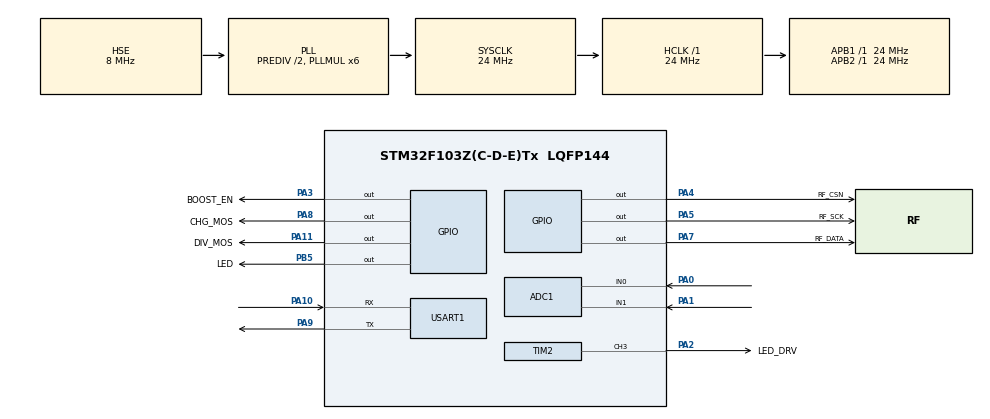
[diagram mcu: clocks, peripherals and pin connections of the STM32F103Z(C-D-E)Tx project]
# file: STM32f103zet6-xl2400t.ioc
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ADC1.Channel-0\#ChannelRegularConversion=ADC_CHANNEL_0
ADC1.NbrOfConversionFlag=1
ADC1.Rank-0\#ChannelRegularConversion=1
ADC1.SamplingTime-0\#ChannelRegularConversion=ADC_SAMPLETIME_1CYCLE_5
ADC1.master=1
IWDG.Prescaler=IWDG_PRESCALER_64
IWDG.Reload=1000
Mcu.Family=STM32F1
Mcu.Name=STM32F103Z(C-D-E)Tx
Mcu.Package=LQFP144
NVIC.PriorityGroup=NVIC_PRIORITYGROUP_4
OSC_IN.Mode=HSE-External-Oscillator
OSC_IN.Signal=RCC_OSC_IN
OSC_OUT.Mode=HSE-External-Oscillator
OSC_OUT.Signal=RCC_OSC_OUT
PA0-WKUP.Signal=ADCx_IN0
PA1.Signal=ADCx_IN1
PA10.Mode=Asynchronous
PA10.Signal=USART1_RX
PA11.GPIO_Label=DIV_MOS
PA11.Signal=GPIO_Output
PA13.Mode=Serial_Wire
PA13.Signal=SYS_JTMS-SWDIO
PA14.Mode=Serial_Wire
PA14.Signal=SYS_JTCK-SWCLK
PA2.GPIO_Label=LED_DRV
PA2.Signal=S_TIM2_CH3
PA3.GPIO_Label=BOOST_EN
PA3.Signal=GPIO_Output
PA4.GPIO_Label=RF_CSN
PA4.Signal=GPIO_Output
PA5.GPIO_Label=RF_SCK
PA5.Signal=GPIO_Output
PA7.GPIO_Label=RF_DATA
PA7.Signal=GPIO_Output
PA8.GPIO_Label=CHG_MOS
PA8.Signal=GPIO_Output
PA9.Mode=Asynchronous
PA9.Signal=USART1_TX
PB5.GPIO_Label=LED
PB5.Signal=GPIO_Output
ProjectManager.HeapSize=0x200
ProjectManager.StackSize=0x400
ProjectManager.TargetToolchain=MDK-ARM V5
RCC.AHBFreq_Value=24000000
RCC.APB1Freq_Value=24000000
RCC.APB1TimFreq_Value=24000000
RCC.APB2Freq_Value=24000000
RCC.APB2TimFreq_Value=24000000
RCC.HCLKFreq_Value=24000000
RCC.HSEDivPLL=RCC_HSE_PREDIV_DIV2
RCC.PLLMUL=RCC_PLL_MUL6
RCC.PLLSourceVirtual=RCC_PLLSOURCE_HSE
RCC.SYSCLKFreq_VALUE=24000000
RCC.SYSCLKSource=RCC_SYSCLKSOURCE_PLLCLK
RCC.USBFreq_Value=24000000
SH.ADCx_IN0.0=ADC1_IN0,IN0
SH.ADCx_IN1.0=ADC1_IN1,IN1
SH.S_TIM2_CH3.0=TIM2_CH3,PWM Generation3 CH3
TIM2.AutoReloadPreload=TIM_AUTORELOAD_PRELOAD_ENABLE
TIM2.Channel-PWM\ Generation3\ CH3=TIM_CHANNEL_3
TIM2.OCFastMode_PWM-PWM\ Generation3\ CH3=TIM_OCFAST_ENABLE
TIM2.Period=192
TIM2.Pulse-PWM\ Generation3\ CH3=115
USART1.VirtualMode=VM_ASYNC
VP_IWDG_VS_IWDG.Mode=IWDG_Activate
board=custom

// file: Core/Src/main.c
/* USER CODE BEGIN Header */
/**
  ******************************************************************************
  * @file           : main.c
  * @brief          : Main program body
  ******************************************************************************
  * @attention
  *
  * Copyright (c) 2026 STMicroelectronics.
  * All rights reserved.
  *
  * This software is licensed under terms that can be found in the LICENSE file
  * in the root directory of this software component.
  * If no LICENSE file comes with this software, it is provided AS-IS.
  *
  ******************************************************************************
  */
/* USER CODE END Header */
#include "main.h"

/* USER CODE BEGIN Includes */
#include "XL2400T.h"
#include "rf_xl2400.h"
/* USER CODE END Includes */

/* USER CODE BEGIN PD */
/* v1.8.1: 测试版 - 取消传输延迟补偿，观察原始同步效果 */
#define SYNC_CYCLE_MS       900U    /* 同步周期 900ms */
#define SYNC_LED_ON_MS      100U    /* LED 亮灯时间 100ms */
#define SYNC_TX_TIME_MS     450U    /* TX 发送时间：周期中点，所有节点相同 */
#define SYNC_TX_DELAY_MS    6U      /* 传输延迟补偿：基于测试结果(11ms/2≈6ms) */
#define SYNC_PKT_SIZE       4U      /* 精简包：AA 55 + 2字节相位 */

/* 日/夜检测 (规格书 §5)：太阳能板电压 PA0/ADC1_IN0，滞回避免抖动 */
#define SOLAR_ADC_NIGHT_THRESHOLD   360U   /* raw < 此值判为夜间，开灯 (0.29V @ 3.3Vref) */
#define SOLAR_ADC_DAY_THRESHOLD    496U   /* raw > 此值判为白天，关灯 (0.4V @ 3.3Vref) */
#define DAYNIGHT_SAMPLE_INTERVAL_MS 1000U /* 日/夜 ADC 采样间隔（1s），配合 3s 持续确认 */
#define DAYNIGHT_HOLD_MS            3000U /* 翻转前需持续满足条件的时间，避免误触发 */

/* 充电控制（过充保护）：电池电压 PA1/ADC1_IN1，1K+104 RC 滤波直采，无分压 (镍氢约 1.2V，最高约 1.6V) */
#define BATT_ADC_OVERCHARGE_RAW     1924U  /* raw >= 此值关断充电 (1.55V @ 3.3Vref) */
#define BATT_ADC_REENABLE_RAW      1676U  /* raw <= 此值重新开启充电 (1.35V @ 3.3Vref) */
#define CHARGE_SAMPLE_INTERVAL_MS  3000U  /* 电池 ADC 采样间隔：3s 一次即可 */

/* USER CODE END PD */

ADC_HandleTypeDef hadc1;

IWDG_HandleTypeDef hiwdg;

TIM_HandleTypeDef htim2;

UART_HandleTypeDef huart1;

/* USER CODE BEGIN PV */
/* XL2400T TX/RX buffers (8-byte payload) */
static uint8_t RF_TX_Buf[RF_PACKET_SIZE]   = {0};
static uint8_t RF_RX_Buf[RF_PACKET_SIZE]   = {0};

/* 同步闪灯本地时间：900ms 周期 (100ms ON + 800ms OFF) */
static uint32_t g_cycle = 0;          /* 周期计数 */
static uint16_t g_phase_ms = 0;       /* 周期内偏移 0..899 ms */
static uint32_t g_last_tick_ms = 0;   /* 上一次更新时间的 HAL_GetTick() 值 */
static uint32_t g_last_tx_cycle = (uint32_t)-1; /* 上一次已经广播过的周期号 */

/* v1.7.2: 单固件多节点 - 固定 TX 时间 */
static uint8_t  g_rf_mode = 0;        /* 0=RX, 1=TX (当前 RF 模式) */
static uint8_t  g_led_state = 0;      /* LED 状态，用于边沿检测 */
static uint32_t g_led_on_tick = 0;    /* LED 点亮的时间戳，用于保证最少亮 100ms */

/* 日/夜检测：1=夜间(闪灯)，0=白天(关灯)，滞回 0.29V/0.4V */
static uint8_t  g_is_night = 1;       /* 默认夜间，上电可闪 */
static uint32_t g_last_daynight_tick = 0;  /* 上次日/夜采样时刻 */
static uint32_t g_daynight_hold_until_tick = 0;  /* 翻转确认：满足条件持续到该 tick 才切换，0=未在确认中 */

static uint32_t g_last_charge_tick = 0;  /* 上次充电控制采样时刻 */

static uint8_t  g_rf_sleeping = 0;        /* 白天低功耗：RF 是否已进入睡眠 */
static uint8_t  g_rf_sleeping_night = 0;  /* 夜间RF睡眠状态：仅在RX窗口唤醒 */
/* USER CODE END PV */

void SystemClock_Config(void);
static void MX_GPIO_Init(void);
static void MX_ADC1_Init(void);
static void MX_USART1_UART_Init(void);
static void MX_IWDG_Init(void);
static void MX_TIM2_Init(void);
/* USER CODE BEGIN PFP */
static void DebugPrint(const char *s);
static void DebugPrintHex(const uint8_t *buf, uint8_t len);
static void DebugPrintDec(uint16_t val);
static void SyncTime_Update(void);
static void SyncLamp_Update(void);
static void BuildSyncPacket(uint8_t *pkt);
static uint16_t ParseSyncPacket(const uint8_t *pkt);
static void Sync_AdjustFromPacket(uint16_t rx_phase_ms);
static void Sync_MainLoop(void);
static void DayNight_Update(void);  /* 读太阳能板 ADC，滞回更新 g_is_night */
static void Charge_Update(void);    /* 读电池 ADC(PA1)，过充 1.55V 关断、1.35V 重开 */
/* USER CODE END PFP */

int main(void)
{

  /* MCU Configuration--------------------------------------------------------*/

  /* Reset of all peripherals, Initializes the Flash interface and the Systick. */
  HAL_Init();

  /* Configure the system clock */
  SystemClock_Config();

  /* Initialize all configured peripherals */
  MX_GPIO_Init();
  MX_ADC1_Init();
  MX_USART1_UART_Init();
  MX_IWDG_Init();
  MX_TIM2_Init();
  /* USER CODE BEGIN 2 */
  DebugPrint("\r\n[FW] " FW_VERSION "\r\n");

  /* v2.0.0: 启用升压电路供电 (BOOST_EN = HIGH) */
  HAL_Delay(100);  /* 等待时钟稳定 */
  HAL_GPIO_WritePin(BOOST_EN_GPIO_Port, BOOST_EN_Pin, GPIO_PIN_SET);
  DebugPrint("BOOST_EN: HIGH\r\n");

  /* XL2400T 3-wire SPI + RF init（通过通用接口） */
  RF_Link_Init();

  /* v1.7.2: 所有节点使用相同的固定 TX 时间，避免"假同步" */
  DebugPrint("=== SINGLE-FW MULTINODE ===\r\n");
  DebugPrint("TX time: ");
  DebugPrintDec(SYNC_TX_TIME_MS);
  DebugPrint(" ms (fixed)\r\n");
  DebugPrint("LED: PWM 124kHz 60%\r\n");

  /* 默认进入 RX 模式 (XL2400T: TX=76, RX=75) */
  RF_Link_ConfigRx(75);
  g_rf_mode = 0;

  /* 充电默认开启（P 沟道高边）：低电平导通充电，高电平关断由 Charge_Update 控制 */
  HAL_GPIO_WritePin(CHG_MOS_GPIO_Port, CHG_MOS_Pin, GPIO_PIN_RESET);

  /* 在所有耗时初始化完成后，再初始化时间基准（避免启动延迟导致相位跳变） */
  g_last_tick_ms = HAL_GetTick();
  g_cycle = 0;
  g_phase_ms = 0;
  g_led_state = 0;

  DebugPrint("IWDG: ON (1.6s timeout)\r\n");
  /* USER CODE END 2 */

  /* Infinite loop */
  while (1)
  {

    /* USER CODE BEGIN 3 */
    /* v2.4.x: 白天低功耗：RF 睡眠 + CPU Sleep(WFI)，保留日夜/充电低频采样 */
    static uint8_t last_is_night = 1;

    DayNight_Update();
    Charge_Update();

    /* 日夜切换时处理 RF 状态 */
    if (last_is_night != g_is_night) {
      if (g_is_night) {
        /* 进入夜间：唤醒并回到 RX */
        RF_Link_ConfigRx(75);
        g_rf_mode = 0;
        g_rf_sleeping = 0;
        g_rf_sleeping_night = 0;  /* 夜间RF睡眠状态重置 */
      } else {
        /* 进入白天：让 RF 休眠 */
        RF_Link_Sleep();
        g_rf_sleeping = 1;
      }
      last_is_night = g_is_night;
    }

    if (g_is_night) {
      Sync_MainLoop();
    } else {
      /* 白天：关灯，不跑同步 */
      HAL_TIM_PWM_Stop(&htim2, TIM_CHANNEL_3);
      HAL_GPIO_WritePin(LED_GPIO_Port, LED_Pin, GPIO_PIN_RESET);

      /* 确保 RF 在白天处于睡眠态（避免漏掉首次进入白天的情况） */
      if (!g_rf_sleeping) {
        RF_Link_Sleep();
        g_rf_sleeping = 1;
      }
    }

    /* 喂狗：正常运行时每个主循环都会执行到这里 */
    HAL_IWDG_Refresh(&hiwdg);

    /* 白天：CPU 进入 Sleep，靠 SysTick/中断唤醒（不影响 IWDG） */
    if (!g_is_night) {
      HAL_PWR_EnterSLEEPMode(PWR_MAINREGULATOR_ON, PWR_SLEEPENTRY_WFI);
    }
  }
  /* USER CODE END 3 */
}

void SystemClock_Config(void)
{
  RCC_OscInitTypeDef RCC_OscInitStruct = {0};
  RCC_ClkInitTypeDef RCC_ClkInitStruct = {0};
  RCC_PeriphCLKInitTypeDef PeriphClkInit = {0};

  /** Initializes the RCC Oscillators according to the specified parameters
  * in the RCC_OscInitTypeDef structure.
  */
  RCC_OscInitStruct.OscillatorType = RCC_OSCILLATORTYPE_LSI|RCC_OSCILLATORTYPE_HSE;
  RCC_OscInitStruct.HSEState = RCC_HSE_ON;
  RCC_OscInitStruct.HSEPredivValue = RCC_HSE_PREDIV_DIV2;
  RCC_OscInitStruct.HSIState = RCC_HSI_ON;
  RCC_OscInitStruct.LSIState = RCC_LSI_ON;
  RCC_OscInitStruct.PLL.PLLState = RCC_PLL_ON;
  RCC_OscInitStruct.PLL.PLLSource = RCC_PLLSOURCE_HSE;
  RCC_OscInitStruct.PLL.PLLMUL = RCC_PLL_MUL6;
  if (HAL_RCC_OscConfig(&RCC_OscInitStruct) != HAL_OK)
  {
    Error_Handler();
  }

  /** Initializes the CPU, AHB and APB buses clocks
  */
  RCC_ClkInitStruct.ClockType = RCC_CLOCKTYPE_HCLK|RCC_CLOCKTYPE_SYSCLK
                              |RCC_CLOCKTYPE_PCLK1|RCC_CLOCKTYPE_PCLK2;
  RCC_ClkInitStruct.SYSCLKSource = RCC_SYSCLKSOURCE_PLLCLK;
  RCC_ClkInitStruct.AHBCLKDivider = RCC_SYSCLK_DIV1;
  RCC_ClkInitStruct.APB1CLKDivider = RCC_HCLK_DIV1;
  RCC_ClkInitStruct.APB2CLKDivider = RCC_HCLK_DIV1;

  if (HAL_RCC_ClockConfig(&RCC_ClkInitStruct, FLASH_LATENCY_0) != HAL_OK)
  {
    Error_Handler();
  }
  PeriphClkInit.PeriphClockSelection = RCC_PERIPHCLK_ADC;
  PeriphClkInit.AdcClockSelection = RCC_ADCPCLK2_DIV2;
  if (HAL_RCCEx_PeriphCLKConfig(&PeriphClkInit) != HAL_OK)
  {
    Error_Handler();
  }
}

static void MX_ADC1_Init(void)
{

  ADC_ChannelConfTypeDef sConfig = {0};

  /** Common config
  */
  hadc1.Instance = ADC1;
  hadc1.Init.ScanConvMode = ADC_SCAN_DISABLE;
  hadc1.Init.ContinuousConvMode = DISABLE;
  hadc1.Init.DiscontinuousConvMode = DISABLE;
  hadc1.Init.ExternalTrigConv = ADC_SOFTWARE_START;
  hadc1.Init.DataAlign = ADC_DATAALIGN_RIGHT;
  hadc1.Init.NbrOfConversion = 1;
  if (HAL_ADC_Init(&hadc1) != HAL_OK)
  {
    Error_Handler();
  }

  /** Configure Regular Channel
  */
  sConfig.Channel = ADC_CHANNEL_0;
  sConfig.Rank = ADC_REGULAR_RANK_1;
  sConfig.SamplingTime = ADC_SAMPLETIME_1CYCLE_5;
  if (HAL_ADC_ConfigChannel(&hadc1, &sConfig) != HAL_OK)
  {
    Error_Handler();
  }

}

static void MX_IWDG_Init(void)
{

  hiwdg.Instance = IWDG;
  hiwdg.Init.Prescaler = IWDG_PRESCALER_64;
  hiwdg.Init.Reload = 1000;
  if (HAL_IWDG_Init(&hiwdg) != HAL_OK)
  {
    Error_Handler();
  }

}

static void MX_TIM2_Init(void)
{

  TIM_MasterConfigTypeDef sMasterConfig = {0};
  TIM_OC_InitTypeDef sConfigOC = {0};

  htim2.Instance = TIM2;
  htim2.Init.Prescaler = 0;
  htim2.Init.CounterMode = TIM_COUNTERMODE_UP;
  htim2.Init.Period = 192;
  htim2.Init.ClockDivision = TIM_CLOCKDIVISION_DIV1;
  htim2.Init.AutoReloadPreload = TIM_AUTORELOAD_PRELOAD_ENABLE;
  if (HAL_TIM_PWM_Init(&htim2) != HAL_OK)
  {
    Error_Handler();
  }
  sMasterConfig.MasterOutputTrigger = TIM_TRGO_RESET;
  sMasterConfig.MasterSlaveMode = TIM_MASTERSLAVEMODE_DISABLE;
  if (HAL_TIMEx_MasterConfigSynchronization(&htim2, &sMasterConfig) != HAL_OK)
  {
    Error_Handler();
  }
  sConfigOC.OCMode = TIM_OCMODE_PWM1;
  sConfigOC.Pulse = 115;
  sConfigOC.OCPolarity = TIM_OCPOLARITY_HIGH;
  sConfigOC.OCFastMode = TIM_OCFAST_ENABLE;
  if (HAL_TIM_PWM_ConfigChannel(&htim2, &sConfigOC, TIM_CHANNEL_3) != HAL_OK)
  {
    Error_Handler();
  }
  HAL_TIM_MspPostInit(&htim2);

}

static void MX_USART1_UART_Init(void)
{

  huart1.Instance = USART1;
  huart1.Init.BaudRate = 115200;
  huart1.Init.WordLength = UART_WORDLENGTH_8B;
  huart1.Init.StopBits = UART_STOPBITS_1;
  huart1.Init.Parity = UART_PARITY_NONE;
  huart1.Init.Mode = UART_MODE_TX_RX;
  huart1.Init.HwFlowCtl = UART_HWCONTROL_NONE;
  huart1.Init.OverSampling = UART_OVERSAMPLING_16;
  if (HAL_UART_Init(&huart1) != HAL_OK)
  {
    Error_Handler();
  }

}

static void MX_GPIO_Init(void)
{
  GPIO_InitTypeDef GPIO_InitStruct = {0};

  /* GPIO Ports Clock Enable */
  __HAL_RCC_GPIOA_CLK_ENABLE();
  __HAL_RCC_GPIOB_CLK_ENABLE();

  /*Configure GPIO pin Output Level */
  HAL_GPIO_WritePin(GPIOA, BOOST_EN_Pin|RF_CSN_Pin|RF_SCK_Pin|RF_DATA_Pin
                          |CHG_MOS_Pin|DIV_MOS_Pin, GPIO_PIN_RESET);

  /*Configure GPIO pin Output Level */
  HAL_GPIO_WritePin(LED_GPIO_Port, LED_Pin, GPIO_PIN_RESET);

  /*Configure GPIO pins : BOOST_EN_Pin RF_CSN_Pin RF_SCK_Pin RF_DATA_Pin
                           CHG_MOS_Pin DIV_MOS_Pin */
  GPIO_InitStruct.Pin = BOOST_EN_Pin|RF_CSN_Pin|RF_SCK_Pin|RF_DATA_Pin
                          |CHG_MOS_Pin|DIV_MOS_Pin;
  GPIO_InitStruct.Mode = GPIO_MODE_OUTPUT_PP;
  GPIO_InitStruct.Pull = GPIO_NOPULL;
  GPIO_InitStruct.Speed = GPIO_SPEED_FREQ_LOW;
  HAL_GPIO_Init(GPIOA, &GPIO_InitStruct);

  /*Configure GPIO pin : LED_Pin */
  GPIO_InitStruct.Pin = LED_Pin;
  GPIO_InitStruct.Mode = GPIO_MODE_OUTPUT_PP;
  GPIO_InitStruct.Pull = GPIO_NOPULL;
  GPIO_InitStruct.Speed = GPIO_SPEED_FREQ_LOW;
  HAL_GPIO_Init(LED_GPIO_Port, &GPIO_InitStruct);

}

/* USER CODE BEGIN 4 */

static void DebugPrint(const char *s)
{
  if (s == NULL) return;
  uint16_t len = 0;
  while (s[len]) len++;
  if (len > 0)
    HAL_UART_Transmit(&huart1, (uint8_t *)s, len, 100);
}

static void DebugPrintHex(const uint8_t *buf, uint8_t len)
{
  static const char hex[] = "0123456789ABCDEF";
  char s[4];
  for (uint8_t i = 0; i < len && i < 32; i++) {
    s[0] = hex[(buf[i] >> 4) & 0x0F];
    s[1] = hex[buf[i] & 0x0F];
    s[2] = ' ';
    HAL_UART_Transmit(&huart1, (uint8_t *)s, 3, 10);
  }
}

static void DebugPrintDec(uint16_t val)
{
  char buf[6];
  int i = 5;
  buf[i] = '\0';
  if (val == 0) {
    buf[--i] = '0';
  } else {
    while (val > 0 && i > 0) {
      buf[--i] = '0' + (val % 10);
      val /= 10;
    }
  }
  DebugPrint(&buf[i]);
}

/* 更新本地 900ms 周期时间：根据 HAL_GetTick 计算经过的毫秒数 */
static void SyncTime_Update(void)
{
  uint32_t now = HAL_GetTick();
  uint32_t delta = now - g_last_tick_ms;
  if (delta == 0) {
    return;
  }
  g_last_tick_ms = now;

  uint32_t total = g_phase_ms + delta;
  uint32_t new_cycles = total / SYNC_CYCLE_MS;
  g_cycle += new_cycles;
  g_phase_ms = (uint16_t)(total % SYNC_CYCLE_MS);

  /* 检测周期边界：如果跨越了周期起点，立即点亮 LED 并记录时间戳 */
  if (new_cycles > 0) {
    /* v2.0.0: 使用 PWM 驱动 LED 升压电路 */
    HAL_TIM_PWM_Start(&htim2, TIM_CHANNEL_3);
    g_led_on_tick = now;  /* 记录点亮时间戳 */
    if (g_led_state == 0) {
      DebugPrint("LED ON @0\r\n");
    }
    g_led_state = 1;
  }
}

/* 根据本地相位控制同步闪灯：使用时间戳确保 LED 至少亮 100ms */
static void SyncLamp_Update(void)
{
  uint32_t now = HAL_GetTick();

  if (g_led_state == 1) {
    /* LED 当前是亮的，检查是否已经亮够 100ms */
    uint32_t on_duration = now - g_led_on_tick;
    if (on_duration >= SYNC_LED_ON_MS) {
      /* 已经亮够 100ms，可以熄灭 */
      /* v2.0.0: 停止 PWM -> LED 灭 */
      HAL_TIM_PWM_Stop(&htim2, TIM_CHANNEL_3);
      DebugPrint("LED OFF@");
      DebugPrintDec((uint16_t)on_duration);
      DebugPrint("\r\n");
      g_led_state = 0;
    }
  } else {
    /* LED 当前是灭的，根据相位判断是否需要亮 */
    if (g_phase_ms < SYNC_LED_ON_MS) {
      /* v2.0.0: 启动 PWM -> LED 亮 */
      HAL_TIM_PWM_Start(&htim2, TIM_CHANNEL_3);
      g_led_on_tick = now;
      DebugPrint("LED ON @");
      DebugPrintDec(g_phase_ms);
      DebugPrint("\r\n");
      g_led_state = 1;
    }
  }
}

/* 构造 4 字节精简同步包：AA 55 + 2字节相位（1ms 分辨率） */
static void BuildSyncPacket(uint8_t *pkt)
{
  /* 补偿传输延迟：发送时预估接收方收到时的相位 */
  uint16_t compensated_phase = g_phase_ms + SYNC_TX_DELAY_MS;
  if (compensated_phase >= SYNC_CYCLE_MS) {
    compensated_phase -= SYNC_CYCLE_MS;
  }

  pkt[0] = 0xAA;
  pkt[1] = 0x55;
  pkt[2] = (uint8_t)(compensated_phase >> 8);   /* 相位高字节，1ms 分辨率 */
  pkt[3] = (uint8_t)(compensated_phase & 0xFF); /* 相位低字节 */
}

/* 解析 4 字节精简同步包，输出毫秒相位；异常包时输出 0xFFFF */
static uint16_t ParseSyncPacket(const uint8_t *pkt)
{
  if (pkt[0] != 0xAA || pkt[1] != 0x55) {
    return 0xFFFF; /* 无效包 */
  }
  return ((uint16_t)pkt[2] << 8) | pkt[3]; /* 直接是 ms，无需乘法 */
}

/* 根据收到的同步包对本地时间做小步调整 */
static void Sync_AdjustFromPacket(uint16_t rx_phase_ms)
{
  /* 非法包直接忽略 */
  if (rx_phase_ms >= 900U) {
    return;
  }

  /* 仅比较“本周期内相位差”，忽略 cycle 绝对值 */
  int16_t delta = (int16_t)rx_phase_ms - (int16_t)g_phase_ms;  /* >0 我们落后 */

  /* 将相位差规范到 [-450, 450) 区间（半个周期），选择最短路径 */
  if (delta >= 450) {
    delta -= 900;
  } else if (delta < -450) {
    delta += 900;
  }

  /* 调试输出当前本地相位与差值，便于观察收敛情况 */
  DebugPrint(" ADJ: local_phase=");
  DebugPrintHex((uint8_t *)&g_phase_ms, 2);
  DebugPrint(" diff=");
  DebugPrintHex((uint8_t *)&delta, 2);
  DebugPrint("\r\n");

  const int16_t DEAD_BAND   = 5;      /* 小于 5ms 不调整 */
  const int16_t MAX_ADJUST  = 20;     /* 单次最大调整 20ms */

  if (delta > DEAD_BAND) {
    /* 本地相位落后，对本周期相位做前移 */
    int16_t adj = delta;
    if (adj > MAX_ADJUST) adj = MAX_ADJUST;
    g_phase_ms = (uint16_t)((int16_t)g_phase_ms + adj);
    if (g_phase_ms >= 900U) {
      g_phase_ms -= 900U;
      g_cycle++;
    }
  } else if (delta < -DEAD_BAND) {
    /* 本地相位超前，对相位做后移 */
    int16_t adj = -delta;
    if (adj > MAX_ADJUST) adj = MAX_ADJUST;
    if (g_phase_ms > (uint16_t)adj) {
      g_phase_ms = (uint16_t)(g_phase_ms - (uint16_t)adj);
    } else {
      g_phase_ms = (uint16_t)(900U - ((uint16_t)adj - g_phase_ms));
      if (g_cycle > 0) {
        g_cycle--;
      }
    }
  } else {
    /* 差异很小，忽略，避免抖动 */
  }
}

/* 指定通道读 ADC1 一次，返回 raw（失败返回 0xFFFF）。PA0=ch0 太阳能，PA1=ch1 电池 */
static uint32_t Read_ADC1_Channel(uint32_t channel)
{
  ADC_ChannelConfTypeDef sConfig = {0};
  sConfig.Channel = channel;
  sConfig.Rank = ADC_REGULAR_RANK_1;
  sConfig.SamplingTime = ADC_SAMPLETIME_1CYCLE_5;
  if (HAL_ADC_ConfigChannel(&hadc1, &sConfig) != HAL_OK) {
    return 0xFFFF;
  }
  if (HAL_ADC_Start(&hadc1) != HAL_OK) {
    return 0xFFFF;
  }
  if (HAL_ADC_PollForConversion(&hadc1, 10) != HAL_OK) {
    HAL_ADC_Stop(&hadc1);
    return 0xFFFF;
  }
  uint32_t raw = (uint32_t)HAL_ADC_GetValue(&hadc1);
  HAL_ADC_Stop(&hadc1);
  return raw;
}

/* 日/夜检测：读 PA0 太阳能板电压，滞回 + 持续 3 秒确认后翻转 (规格书 §5) */
static void DayNight_Update(void)
{
  uint32_t now = HAL_GetTick();
  if ((now - g_last_daynight_tick) < DAYNIGHT_SAMPLE_INTERVAL_MS) {
    return;
  }
  g_last_daynight_tick = now;

  uint32_t raw = Read_ADC1_Channel(ADC_CHANNEL_0);
  if (raw == 0xFFFF) {
    return;
  }

  uint8_t prev = g_is_night;

  if (raw < SOLAR_ADC_NIGHT_THRESHOLD) {
    /* 条件满足「夜间」 */
    if (g_is_night) {
      g_daynight_hold_until_tick = 0;
    } else {
      if (g_daynight_hold_until_tick == 0) {
        g_daynight_hold_until_tick = now + DAYNIGHT_HOLD_MS;
      } else if (now >= g_daynight_hold_until_tick) {
        g_is_night = 1;
        g_daynight_hold_until_tick = 0;
      }
    }
  } else if (raw > SOLAR_ADC_DAY_THRESHOLD) {
    /* 条件满足「白天」 */
    if (!g_is_night) {
      g_daynight_hold_until_tick = 0;
    } else {
      if (g_daynight_hold_until_tick == 0) {
        g_daynight_hold_until_tick = now + DAYNIGHT_HOLD_MS;
      } else if (now >= g_daynight_hold_until_tick) {
        g_is_night = 0;
        g_daynight_hold_until_tick = 0;
      }
    }
  } else {
    /* 滞回中间区：取消本次翻转确认 */
    g_daynight_hold_until_tick = 0;
  }

  if (prev != g_is_night) {
    DebugPrint(g_is_night ? "->Night\r\n" : "->Day\r\n");
  }
}

/* 充电控制：读 PA1 电池电压（1K+104 RC 直采无分压），过充 1.55V 关断、1.35V 滞回重开 */
static void Charge_Update(void)
{
  uint32_t now = HAL_GetTick();
  if ((now - g_last_charge_tick) < CHARGE_SAMPLE_INTERVAL_MS) {
    return;
  }
  g_last_charge_tick = now;

  /* 仅在“有太阳能输入”时才检查过充，夜间放电时直接返回以减少 ADC 次数 */
  uint32_t solar_raw = Read_ADC1_Channel(ADC_CHANNEL_0);
  if (solar_raw == 0xFFFF) {
    return;
  }
  if (solar_raw <= SOLAR_ADC_DAY_THRESHOLD) {
    /* 太阳能电压不高，认为未在充电状态，跳过过充判断 */
    return;
  }

  uint32_t raw = Read_ADC1_Channel(ADC_CHANNEL_1);
  if (raw == 0xFFFF) {
    return;
  }

  /* 过充判断增加一次复核：连续两次采样都 >= 阈值才真正认定过充 */
  static uint8_t overcharge_pending = 0;

  if (raw >= BATT_ADC_OVERCHARGE_RAW) {
    if (!overcharge_pending) {
      overcharge_pending = 1;
      return;
    }
    overcharge_pending = 0;
    HAL_GPIO_WritePin(CHG_MOS_GPIO_Port, CHG_MOS_Pin, GPIO_PIN_SET);    /* 过充：P 沟道高边，高电平关断充电 */
  } else if (raw <= BATT_ADC_REENABLE_RAW) {
    overcharge_pending = 0;
    HAL_GPIO_WritePin(CHG_MOS_GPIO_Port, CHG_MOS_Pin, GPIO_PIN_RESET);  /* 电压降到滞回下限，拉低重新导通充电 */
  }
  /* 中间区保持当前 CHG_MOS 状态 */
}

/* v1.7.2: 单固件多节点主循环状态机 */
static void Sync_MainLoop(void)
{
  /* 更新本地时间并驱动同步闪灯 LED */
  SyncTime_Update();
  SyncLamp_Update();

  /* 900ms 同步窗口定义（保持 TX=450，不抖动；到 TX 后立刻 RX，仿照 v2.3.0 行为） */
  uint16_t tx_time = SYNC_TX_TIME_MS;
  uint8_t in_tx_window = (g_cycle != g_last_tx_cycle && g_phase_ms >= tx_time && g_phase_ms < (tx_time + 50U));

  /* 优先 TX：如果到了发送窗口立即发送 */
  if (in_tx_window) {
    if (g_rf_mode != 1) {
      RF_Link_ConfigTx(76);
      g_rf_mode = 1;
    }

    BuildSyncPacket(RF_TX_Buf);
    if (RF_Link_Send(RF_TX_Buf, SYNC_PKT_SIZE) == 0) {
      DebugPrint("TX@");
      DebugPrintDec(g_phase_ms);
      DebugPrint("\r\n");
    }
    g_last_tx_cycle = g_cycle;
    HAL_GPIO_TogglePin(LED_GPIO_Port, LED_Pin);

    /* 发送完成后立即切回 RX */
    RF_Link_ConfigRx(75);
    g_rf_mode = 0;
    g_rf_sleeping_night = 0;
  }

  /* 永远保持 RX（夜间降功耗策略暂时关闭，用于同步稳定性验证） */
  if (g_rf_mode != 0) {
    RF_Link_ConfigRx(75);
    g_rf_mode = 0;
    g_rf_sleeping_night = 0;
  }

  /* RX 模式下轮询接收 */
  if (g_rf_mode == 0 && !in_tx_window) {
    uint8_t rx_len = 0;
    if (RF_Link_PollReceive(RF_RX_Buf, &rx_len) == 1) {
      uint16_t rx_phase_ms = ParseSyncPacket(RF_RX_Buf);
      if (rx_phase_ms < SYNC_CYCLE_MS) {
        DebugPrint("RX: ph=");
        DebugPrintDec(rx_phase_ms);
        Sync_AdjustFromPacket(rx_phase_ms);
        SyncLamp_Update();  /* 调整相位后立即更新 LED，避免跳过边沿 */
        HAL_GPIO_TogglePin(LED_GPIO_Port, LED_Pin);
      }
    }
  }
}
/* USER CODE END 4 */

void Error_Handler(void)
{
  __disable_irq();
  while (1)
  {
  }
}
